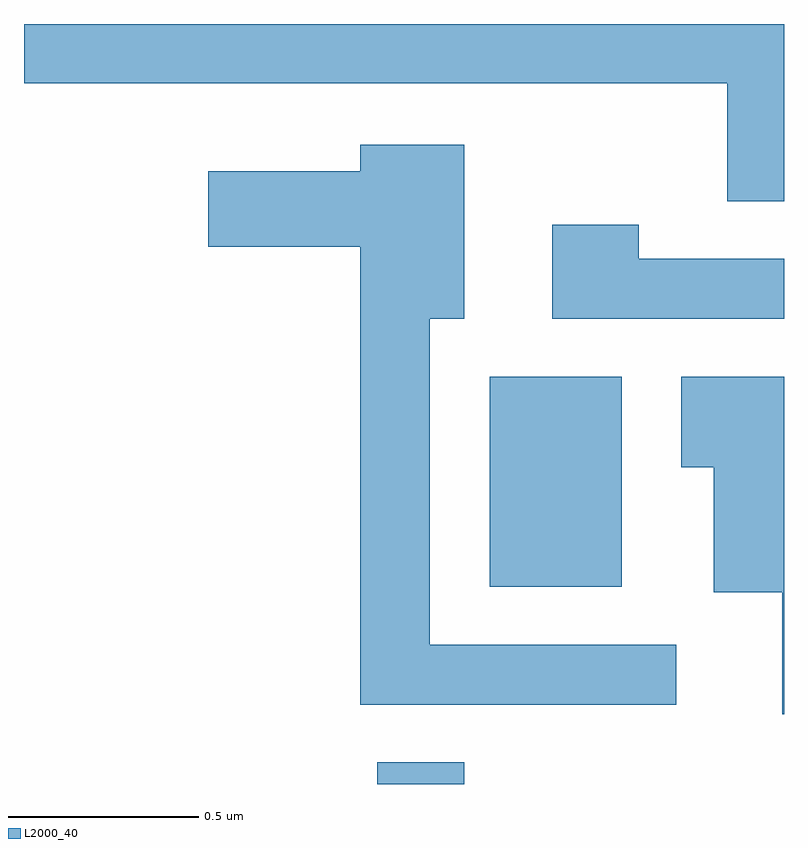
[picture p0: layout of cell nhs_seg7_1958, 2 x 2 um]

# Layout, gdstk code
import gdstk
lib = gdstk.Library(unit=1e-6, precision=1e-09)
def R(c, l, rs):  # rectangles x0, y0, x1, y1
    for r in rs: c.add(gdstk.rectangle(r[:2], r[2:], *l))
def P(c, l, *ps):  # polygons
    for p in ps: c.add(gdstk.Polygon(p, *l))
L2000_40 = (2000, 40)

nhs_seg7_1958 = lib.new_cell('nhs_seg7_1958')
R(nhs_seg7_1958, L2000_40, [(200.541,1710.252,200.769,1710.309), (200.836,1710.771,201.184,1711.324)])
P(nhs_seg7_1958, L2000_40, [(201.611,1712.252),(199.611,1712.252),(199.611,1712.096),(201.461,1712.096),(201.461,1711.786),(201.611,1711.786)],
  [(201.328,1710.619),(200.679,1710.619),(200.679,1711.476),(200.769,1711.476),(200.769,1711.934),(200.496,1711.934),(200.496,1711.864),(200.096,1711.864),(200.096,1711.666),(200.496,1711.666),(200.496,1710.461),(201.328,1710.461)],
  [(201.611,1711.634),(201.229,1711.634),(201.229,1711.724),(201.001,1711.724),(201.001,1711.476),(201.611,1711.476)],
  [(201.611,1711.324),(201.341,1711.324),(201.341,1711.086),(201.426,1711.086),(201.426,1710.756),(201.606,1710.756),(201.606,1710.436),(201.611,1710.436)])

lib.write_gds('nhs_seg7_1958.gds')
